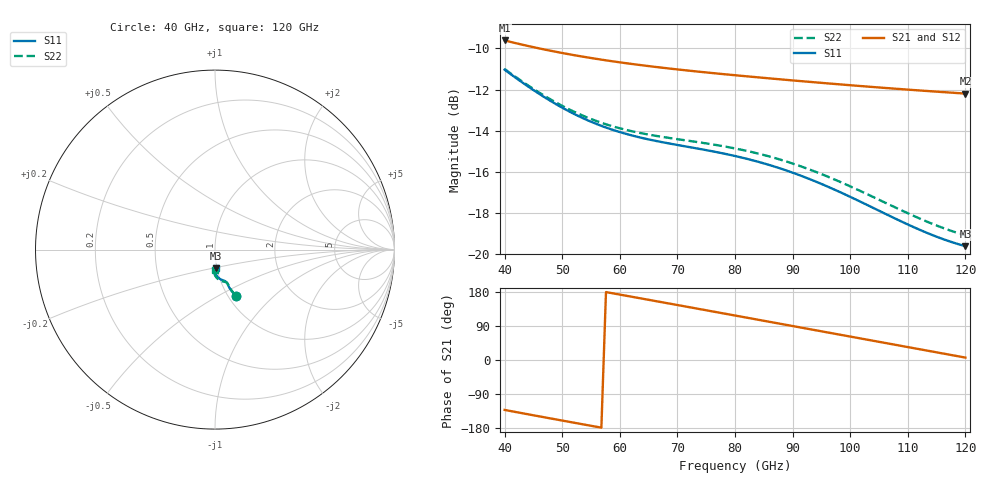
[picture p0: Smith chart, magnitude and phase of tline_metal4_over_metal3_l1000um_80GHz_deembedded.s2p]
! Created with skrf 2.0.1 (http://scikit-rf.org).
# GHz S DB R 50.0
!freq dBS11 angS11 dBS21 angS21 dBS12 angS12 dBS22 angS22
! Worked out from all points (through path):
!   101 points, 40 GHz to 120 GHz, reference 50 ohm
!   highest |S21| = -9.61 dB at 40 GHz (marker M1); lowest = -12.2 dB at 120 GHz (marker M2)
!   group delay of S21, straight-line fit = 7.69 ps
!   lowest |S11| = -19.6 dB at 120 GHz (marker M3), VSWR 1.23, Z = 49.2 - j10.4 ohm
!   |S11| at or under -10 dB: start of sweep to end of sweep
!   |S22| runs from -19.1 to -11.0 dB; largest |S21 - S12| = 3.1e-13
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40  -11.03 -65.7  -9.61 -131.8  -9.61 -131.8  -11.00 -65.3
43.2  -11.68 -67.3  -9.83 -140.8  -9.83 -140.8  -11.64 -66.9
46.4  -12.28 -68.5  -10.02 -149.8  -10.02 -149.8  -12.22 -67.9
49.6  -12.82 -69.2  -10.20 -158.7  -10.20 -158.7  -12.73 -68.6
53.6  -13.39 -69.7  -10.40 -169.7  -10.40 -169.7  -13.27 -69.1
56.8  -13.76 -70.0  -10.55 -178.6  -10.55 -178.6  -13.61 -69.3
60  -14.07 -70.3  -10.68 172.6  -10.68 172.6  -13.88 -69.6
63.2  -14.31 -70.7  -10.80 163.8  -10.80 163.8  -14.09 -70.1
67.2  -14.55 -71.5  -10.93 152.8  -10.93 152.8  -14.29 -71.1
73.6  -14.87 -73.8  -11.13 135.1  -11.13 135.1  -14.56 -73.6
76.8  -15.04 -75.4  -11.22 126.3  -11.22 126.3  -14.70 -75.3
80  -15.23 -77.1  -11.30 117.4  -11.30 117.4  -14.86 -77.2
83.2  -15.45 -79.0  -11.39 108.5  -11.39 108.5  -15.06 -79.2
86.4  -15.70 -80.9  -11.47 99.6  -11.47 99.6  -15.29 -81.3
89.6  -16.00 -82.9  -11.55 90.7  -11.55 90.7  -15.56 -83.4
93.6  -16.42 -85.1  -11.64 79.6  -11.64 79.6  -15.95 -86.0
96.8  -16.80 -86.8  -11.72 70.7  -11.72 70.7  -16.31 -87.8
100  -17.21 -88.1  -11.79 61.9  -11.79 61.9  -16.70 -89.4
107.2  -18.19 -89.8  -11.95 41.9  -11.95 41.9  -17.65 -91.7
113.6  -19.00 -89.6  -12.08 24.1  -12.08 24.1  -18.45 -92.0
116.8  -19.33 -89.0  -12.14 15.2  -12.14 15.2  -18.79 -91.7
120  -19.61 -88.1  -12.20 6.4  -12.20 6.4  -19.08 -91.1
